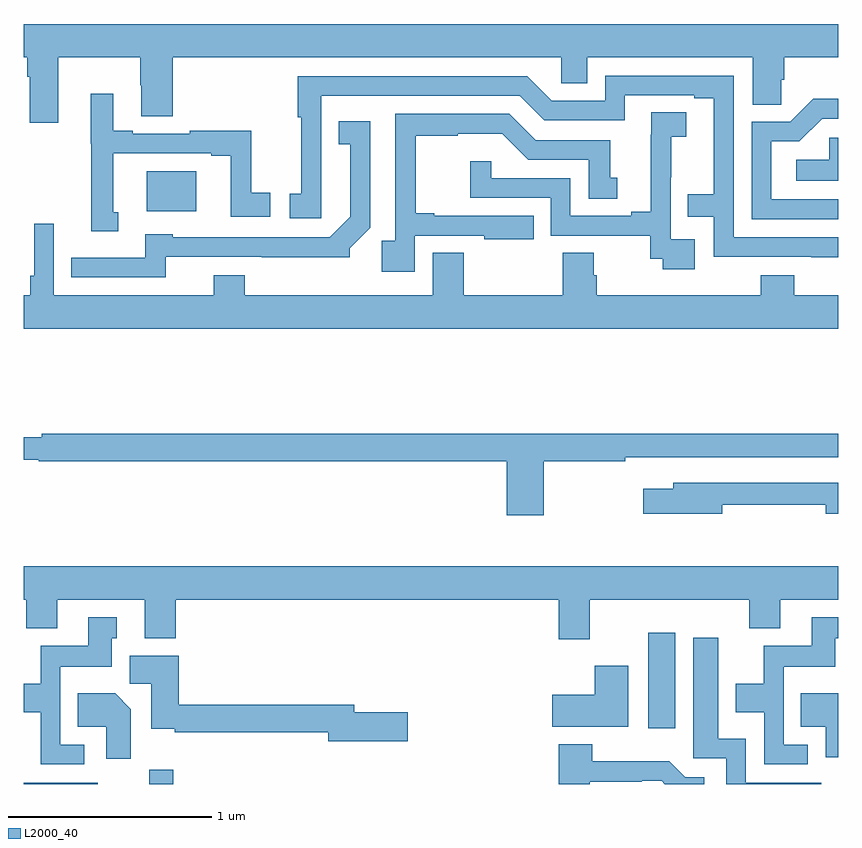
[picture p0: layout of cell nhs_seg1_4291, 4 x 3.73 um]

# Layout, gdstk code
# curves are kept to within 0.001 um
import gdstk
lib = gdstk.Library(unit=1e-6, precision=1e-09)
def R(c, l, rs):  # rectangles x0, y0, x1, y1
    for r in rs: c.add(gdstk.rectangle(r[:2], r[2:], *l))
def P(c, l, *ps):  # polygons
    for p in ps: c.add(gdstk.Polygon(p, *l))
L2000_40 = (2000, 40)

nhs_seg1_4291 = lib.new_cell('nhs_seg1_4291')
R(nhs_seg1_4291, L2000_40, [(345,512.199,345.364,512.206), (345.616,512.199,345.734,512.269), (348.068,512.472,348.199,512.941), (345.605,515.012,345.847,515.209)])
P(nhs_seg1_4291, L2000_40, [(345.169,515.768),(345.571,515.768),(345.571,515.63),(345.578,515.63),(345.578,515.479),(345.731,515.479),(345.731,515.768),(347.64,515.768),(347.64,515.641),(347.767,515.641),(347.767,515.768),(348.581,515.768),(348.581,515.536),(348.72,515.536),(348.72,515.659),(348.734,515.659),(348.734,515.768),(349,515.768),(349,515.932),(345,515.932),(345,515.768),(345.017,515.768),(345.017,515.672),(345.029,515.672),(345.029,515.448),(345.169,515.448)],
  [(349,514.884),(348.486,514.884),(348.486,515.679),(347.856,515.679),(347.856,515.556),(347.592,515.556),(347.472,515.676),(346.345,515.676),(346.345,515.473),(346.363,515.473),(346.363,515.097),(346.305,515.097),(346.305,514.977),(346.462,514.977),(346.461,515.58),(347.436,515.58),(347.556,515.46),(347.952,515.46),(347.952,515.583),(348.293,515.583),(348.293,515.568),(348.389,515.568),(348.389,515.095),(348.262,515.095),(348.262,514.986),(348.39,514.986),(348.39,514.788),(349,514.787)],
  [(345.463,515.007),(345.439,515.007),(345.439,515.298),(345.92,515.298),(345.92,515.286),(346.016,515.286),(346.016,514.986),(346.21,514.986),(346.21,515.102),(346.116,515.102),(346.116,515.407),(345.814,515.407),(345.814,515.394),(345.535,515.394),(345.535,515.407),(345.439,515.407),(345.439,515.59),(345.329,515.59),(345.329,515.345),(345.33,515.345),(345.33,514.913),(345.463,514.913)],
  [(349,515.07),(348.672,515.07),(348.672,515.355),(348.81,515.355),(348.921,515.466),(349,515.466),(349,515.564),(348.878,515.564),(348.765,515.451),(348.576,515.451),(348.576,514.974),(349,514.974)],
  [(348.295,514.875),(348.177,514.875),(348.177,515.179),(348.179,515.179),(348.179,515.377),(348.253,515.377),(348.253,515.498),(348.082,515.498),(348.082,515.387),(348.08,515.387),(348.08,515.009),(347.984,515.009),(347.984,514.989),(347.685,514.989),(347.685,515.175),(347.295,515.175),(347.295,515.257),(347.194,515.257),(347.194,515.079),(347.589,515.079),(347.589,514.893),(348.076,514.893),(348.076,514.779),(348.139,514.779),(348.139,514.728),(348.295,514.728)],
  [(346.92,514.893),(347.261,514.893),(347.261,514.874),(347.504,514.874),(347.504,514.989),(347.017,514.989),(347.017,515.002),(346.925,515.002),(346.925,515.382),(347.132,515.382),(347.132,515.393),(347.35,515.393),(347.478,515.265),(347.774,515.265),(347.774,515.074),(347.914,515.074),(347.914,515.178),(347.881,515.178),(347.881,515.361),(347.514,515.361),(347.385,515.49),(346.824,515.49),(346.824,514.867),(346.759,514.867),(346.759,514.716),(346.92,514.716)],
  [(345.696,514.788),(346.602,514.787),(346.602,514.831),(346.701,514.93),(346.701,515.455),(346.546,515.455),(346.546,515.342),(346.604,515.342),(346.604,514.985),(346.503,514.884),(345.732,514.884),(345.732,514.9),(345.596,514.9),(345.596,514.785),(345.232,514.785),(345.232,514.689),(345.696,514.689)],
  [(349,515.373),(348.957,515.373),(348.957,515.266),(348.795,515.266),(348.795,515.162),(349,515.162)],
  [(349,514.6),(348.785,514.6),(348.785,514.699),(348.62,514.699),(348.62,514.6),(347.813,514.6),(347.813,514.698),(347.8,514.698),(347.8,514.808),(347.648,514.808),(347.648,514.6),(347.162,514.6),(347.162,514.808),(347.009,514.808),(347.009,514.6),(346.085,514.6),(346.085,514.699),(345.932,514.699),(345.932,514.6),(345.147,514.6),(345.147,514.951),(345.05,514.951),(345.05,514.696),(345.031,514.696),(345.031,514.6),(345,514.6),(345,514.436),(349,514.436)],
  [(347.555,513.784),(347.954,513.784),(347.954,513.804),(349,513.804),(349,513.92),(345.088,513.92),(345.088,513.901),(345,513.901),(345,513.792),(345.074,513.792),(345.074,513.784),(347.372,513.784),(347.372,513.519),(347.555,513.519)],
  [(348.43,513.57),(348.938,513.57),(348.938,513.527),(349,513.527),(349,513.678),(348.191,513.678),(348.191,513.649),(348.042,513.649),(348.042,513.527),(348.43,513.527)],
  [(347.779,513.104),(348.563,513.104),(348.563,512.963),(348.715,512.963),(348.715,513.104),(349,513.104),(349,513.268),(345,513.268),(345,513.104),(345.011,513.104),(345.011,512.963),(345.163,512.963),(345.163,513.104),(345.593,513.104),(345.593,512.915),(345.746,512.915),(345.746,513.104),(347.627,513.104),(347.627,512.91),(347.779,512.91)],
  [(345.298,512.391),(345.18,512.391),(345.18,512.774),(345.433,512.774),(345.433,512.916),(345.457,512.916),(345.457,513.019),(345.317,513.019),(345.317,512.878),(345.082,512.878),(345.082,512.692),(345,512.692),(345,512.552),(345.084,512.552),(345.084,512.295),(345.298,512.295)],
  [(348.85,512.391),(348.732,512.391),(348.732,512.774),(348.985,512.774),(348.985,512.916),(349,512.916),(349,513.019),(348.869,513.019),(348.869,512.878),(348.634,512.878),(348.634,512.692),(348.497,512.692),(348.497,512.552),(348.636,512.552),(348.636,512.295),(348.85,512.295)],
  [(348.916,512.206),(348.546,512.206),(348.546,512.422),(348.412,512.422),(348.412,512.917),(348.287,512.917),(348.287,512.325),(348.45,512.325),(348.45,512.199),(348.916,512.199)],
  [(346.885,512.552),(346.624,512.552),(346.624,512.588),(345.761,512.588),(345.761,512.83),(345.521,512.83),(345.521,512.692),(345.626,512.692),(345.626,512.471),(345.742,512.471),(345.742,512.452),(346.496,512.452),(346.496,512.41),(346.885,512.41)],
  [(347.968,512.779),(347.804,512.779),(347.804,512.638),(347.595,512.638),(347.595,512.48),(347.968,512.48)],
  [(349,512.644),(348.817,512.644),(348.817,512.48),(348.938,512.48),(348.938,512.33),(349,512.33)],
  [(345.526,512.566),(345.448,512.644),(345.265,512.644),(345.265,512.48),(345.404,512.48),(345.404,512.322),(345.526,512.322)],
  [(347.779,512.211),(348.035,512.211),(348.035,512.214),(348.134,512.214),(348.149,512.199),(348.343,512.199),(348.343,512.232),(348.249,512.232),(348.171,512.311),(347.792,512.311),(347.792,512.395),(347.627,512.395),(347.627,512.199),(347.779,512.199)])

lib.write_gds('nhs_seg1_4291.gds')
